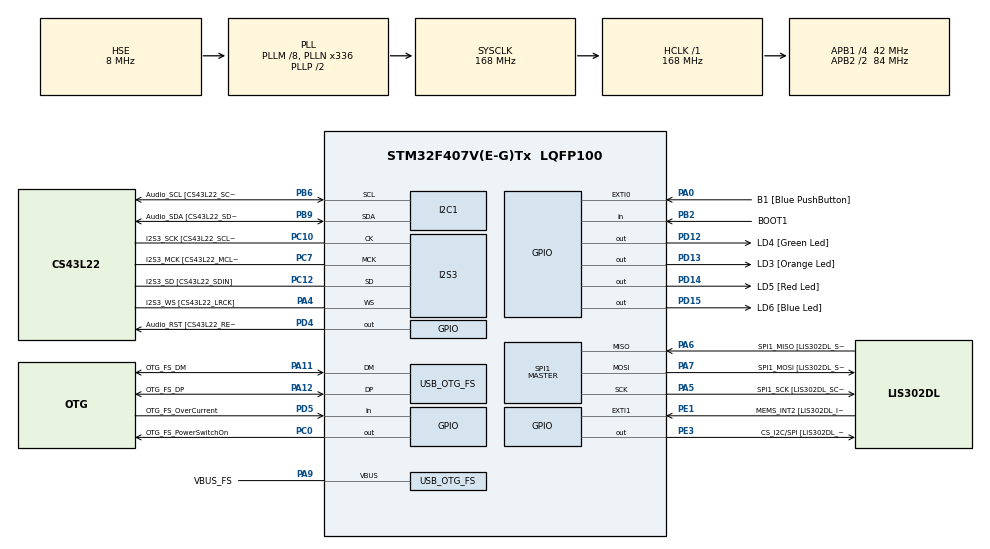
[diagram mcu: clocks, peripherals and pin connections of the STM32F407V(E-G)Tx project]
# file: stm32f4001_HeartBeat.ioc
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I2S3.AudioFreq-Half_Duplex_Master=I2S_AUDIOFREQ_96K
I2S3.ErrorAudioFreq=-2.34 %
I2S3.ErrorAudioFreq-Half_Duplex_Master=0.8 %
I2S3.FullDuplexMode=I2S_FULLDUPLEXMODE_DISABLE
I2S3.Instance=SPI$Index
I2S3.RealAudioFreq=93.75 KHz
I2S3.RealAudioFreq-Half_Duplex_Master=96.774 KHz
I2S3.VirtualMode=I2S_MODE_MASTER
Mcu.Family=STM32F4
Mcu.Name=STM32F407V(E-G)Tx
Mcu.Package=LQFP100
NVIC.OTG_FS_IRQn=true\:0\:0\:false\:false\:true\:true\:true
NVIC.PriorityGroup=NVIC_PRIORITYGROUP_0
PA0-WKUP.GPIO_Label=B1 [Blue PushButton]
PA0-WKUP.GPIO_ModeDefaultEXTI=GPIO_MODE_EVT_RISING
PA0-WKUP.GPIO_PuPd=GPIO_NOPULL
PA0-WKUP.Signal=GPXTI0
PA10.GPIO_Label=OTG_FS_ID
PA10.GPIO_Mode=GPIO_MODE_AF_PP
PA10.GPIO_PuPd=GPIO_NOPULL
PA10.GPIO_Speed=GPIO_SPEED_FREQ_LOW
PA10.Signal=USB_OTG_FS_ID
PA11.GPIO_Label=OTG_FS_DM
PA11.GPIO_Mode=GPIO_MODE_AF_PP
PA11.GPIO_PuPd=GPIO_NOPULL
PA11.GPIO_Speed=GPIO_SPEED_FREQ_LOW
PA11.Mode=Host_Only
PA11.Signal=USB_OTG_FS_DM
PA12.GPIO_Label=OTG_FS_DP
PA12.GPIO_Mode=GPIO_MODE_AF_PP
PA12.GPIO_PuPd=GPIO_NOPULL
PA12.GPIO_Speed=GPIO_SPEED_FREQ_LOW
PA12.Mode=Host_Only
PA12.Signal=USB_OTG_FS_DP
PA13.GPIO_Label=SWDIO
PA13.Mode=Serial_Wire
PA13.Signal=SYS_JTMS-SWDIO
PA14.GPIO_Label=SWCLK
PA14.Mode=Serial_Wire
PA14.Signal=SYS_JTCK-SWCLK
PA4.GPIO_Label=I2S3_WS [CS43L22_LRCK]
PA4.GPIO_Mode=GPIO_MODE_AF_PP
PA4.GPIO_PuPd=GPIO_NOPULL
PA4.GPIO_Speed=GPIO_SPEED_FREQ_LOW
PA4.Mode=Half_Duplex_Master
PA4.Signal=I2S3_WS
PA5.GPIO_Label=SPI1_SCK [LIS302DL_SCL/SPC]
PA5.GPIO_Mode=GPIO_MODE_AF_PP
PA5.GPIO_PuPd=GPIO_NOPULL
PA5.GPIO_Speed=GPIO_SPEED_FREQ_LOW
PA5.Mode=Full_Duplex_Master
PA5.Signal=SPI1_SCK
PA6.GPIO_Label=SPI1_MISO [LIS302DL_SDO]
PA6.GPIO_Mode=GPIO_MODE_AF_PP
PA6.GPIO_PuPd=GPIO_NOPULL
PA6.GPIO_Speed=GPIO_SPEED_FREQ_LOW
PA6.Mode=Full_Duplex_Master
PA6.Signal=SPI1_MISO
PA7.GPIO_Label=SPI1_MOSI [LIS302DL_SDA/SDI/SDO]
PA7.GPIO_Mode=GPIO_MODE_AF_PP
PA7.GPIO_PuPd=GPIO_NOPULL
PA7.GPIO_Speed=GPIO_SPEED_FREQ_LOW
PA7.Mode=Full_Duplex_Master
PA7.Signal=SPI1_MOSI
PA9.GPIO_Label=VBUS_FS
PA9.GPIO_Mode=GPIO_MODE_INPUT
PA9.GPIO_PuPd=GPIO_NOPULL
PA9.Mode=Activate_VBUS
PA9.Signal=USB_OTG_FS_VBUS
PB10.GPIO_Label=CLK_IN [MP45DT02_CLK]
PB10.GPIO_Mode=GPIO_MODE_AF_PP
PB10.GPIO_PuPd=GPIO_NOPULL
PB10.GPIO_Speed=GPIO_SPEED_FREQ_LOW
PB10.Signal=I2S2_CK
PB2.GPIO_Label=BOOT1
PB2.GPIO_Mode=GPIO_MODE_INPUT
PB2.GPIO_PuPd=GPIO_NOPULL
PB2.Signal=GPIO_Input
PB3.GPIO_Label=SWO
PB3.Signal=SYS_JTDO-SWO
PB6.GPIO_Label=Audio_SCL [CS43L22_SCL]
PB6.GPIO_Mode=GPIO_MODE_AF_OD
PB6.GPIO_PuPd=GPIO_NOPULL
PB6.GPIO_Speed=GPIO_SPEED_FREQ_LOW
PB6.Mode=I2C
PB6.Signal=I2C1_SCL
PB9.GPIO_Label=Audio_SDA [CS43L22_SDA]
PB9.GPIO_Mode=GPIO_MODE_AF_OD
PB9.GPIO_PuPd=GPIO_NOPULL
PB9.GPIO_Speed=GPIO_SPEED_FREQ_LOW
PB9.Mode=I2C
PB9.Signal=I2C1_SDA
PC0.GPIO_Label=OTG_FS_PowerSwitchOn
PC0.GPIO_PuPd=GPIO_NOPULL
PC0.GPIO_Speed=GPIO_SPEED_FREQ_LOW
PC0.PinState=GPIO_PIN_SET
PC0.Signal=GPIO_Output
PC10.GPIO_Label=I2S3_SCK [CS43L22_SCLK]
PC10.GPIO_Mode=GPIO_MODE_AF_PP
PC10.GPIO_PuPd=GPIO_NOPULL
PC10.GPIO_Speed=GPIO_SPEED_FREQ_LOW
PC10.Mode=Half_Duplex_Master
PC10.Signal=I2S3_CK
PC12.GPIO_Label=I2S3_SD [CS43L22_SDIN]
PC12.GPIO_Mode=GPIO_MODE_AF_PP
PC12.GPIO_PuPd=GPIO_NOPULL
PC12.GPIO_Speed=GPIO_SPEED_FREQ_LOW
PC12.Mode=Half_Duplex_Master
PC12.Signal=I2S3_SD
PC14-OSC32_IN.GPIO_Label=PC14-OSC32_IN
PC14-OSC32_IN.Mode=LSE-External-Oscillator
PC14-OSC32_IN.Signal=RCC_OSC32_IN
PC15-OSC32_OUT.GPIO_Label=PC15-OSC32_OUT
PC15-OSC32_OUT.Mode=LSE-External-Oscillator
PC15-OSC32_OUT.Signal=RCC_OSC32_OUT
PC3.GPIO_Label=PDM_OUT [MP45DT02_DOUT]
PC3.GPIO_Mode=GPIO_MODE_AF_PP
PC3.GPIO_PuPd=GPIO_NOPULL
PC3.GPIO_Speed=GPIO_SPEED_FREQ_LOW
PC3.Signal=I2S2_SD
PC7.GPIO_Label=I2S3_MCK [CS43L22_MCLK]
PC7.GPIO_Mode=GPIO_MODE_AF_PP
PC7.GPIO_PuPd=GPIO_NOPULL
PC7.GPIO_Speed=GPIO_SPEED_FREQ_LOW
PC7.Mode=Master_Clock_Activated
PC7.Signal=I2S3_MCK
PD12.GPIO_Label=LD4 [Green Led]
PD12.GPIO_PuPd=GPIO_NOPULL
PD12.GPIO_Speed=GPIO_SPEED_FREQ_LOW
PD12.Signal=GPIO_Output
PD13.GPIO_Label=LD3 [Orange Led]
PD13.GPIO_PuPd=GPIO_NOPULL
PD13.GPIO_Speed=GPIO_SPEED_FREQ_LOW
PD13.Signal=GPIO_Output
PD14.GPIO_Label=LD5 [Red Led]
PD14.GPIO_PuPd=GPIO_NOPULL
PD14.GPIO_Speed=GPIO_SPEED_FREQ_LOW
PD14.Signal=GPIO_Output
PD15.GPIO_Label=LD6 [Blue Led]
PD15.GPIO_PuPd=GPIO_NOPULL
PD15.GPIO_Speed=GPIO_SPEED_FREQ_LOW
PD15.Signal=GPIO_Output
PD4.GPIO_Label=Audio_RST [CS43L22_RESET]
PD4.GPIO_PuPd=GPIO_NOPULL
PD4.GPIO_Speed=GPIO_SPEED_FREQ_LOW
PD4.Signal=GPIO_Output
PD5.GPIO_Label=OTG_FS_OverCurrent
PD5.GPIO_Mode=GPIO_MODE_INPUT
PD5.GPIO_PuPd=GPIO_NOPULL
PD5.Signal=GPIO_Input
PE1.GPIO_Label=MEMS_INT2 [LIS302DL_INT2]
PE1.GPIO_ModeDefaultEXTI=GPIO_MODE_EVT_RISING
PE1.GPIO_PuPd=GPIO_NOPULL
PE1.Signal=GPXTI1
PE3.GPIO_Label=CS_I2C/SPI [LIS302DL_CS_I2C/SPI]
PE3.GPIO_PuPd=GPIO_NOPULL
PE3.GPIO_Speed=GPIO_SPEED_FREQ_LOW
PE3.Signal=GPIO_Output
PH0-OSC_IN.GPIO_Label=PH0-OSC_IN
PH0-OSC_IN.Mode=HSE-External-Oscillator
PH0-OSC_IN.Signal=RCC_OSC_IN
PH1-OSC_OUT.GPIO_Label=PH1-OSC_OUT
PH1-OSC_OUT.Mode=HSE-External-Oscillator
PH1-OSC_OUT.Signal=RCC_OSC_OUT
ProjectManager.HeapSize=0x200
ProjectManager.StackSize=0x400
ProjectManager.TargetToolchain=STM32CubeIDE
RCC.48MHZClocksFreq_Value=48000000
RCC.AHBFreq_Value=168000000
RCC.APB1CLKDivider=RCC_HCLK_DIV4
RCC.APB1Freq_Value=42000000
RCC.APB1TimFreq_Value=84000000
RCC.APB2CLKDivider=RCC_HCLK_DIV2
RCC.APB2Freq_Value=84000000
RCC.APB2TimFreq_Value=168000000
RCC.CortexFreq_Value=168000000
RCC.HCLKFreq_Value=168000000
RCC.HSE_VALUE=8000000
RCC.HSI_VALUE=16000000
RCC.PLLM=8
RCC.PLLN=336
RCC.PLLQ=7
RCC.SYSCLKFreq_VALUE=168000000
RCC.SYSCLKSource=RCC_SYSCLKSOURCE_PLLCLK
RCC.VCOOutputFreq_Value=336000000
SPI1.BaudRatePrescaler-Full_Duplex_Master=SPI_BAUDRATEPRESCALER_2
SPI1.CalculateBaudRate-Full_Duplex_Master=42.0 MBits/s
SPI1.Direction=SPI_DIRECTION_2LINES
SPI1.Mode=SPI_MODE_MASTER
SPI1.Mode-Full_Duplex_Master=SPI_MODE_MASTER
SPI1.VirtualType=VM_MASTER
USB_HOST.BSP.number=1
USB_HOST.USBH_HandleTypeDef-CDC_FS=hUsbHostFS
USB_HOST.VirtualModeFS=Cdc
USB_HOST0.BSP.STBoard=false
USB_HOST0.BSP.api=Unknown
USB_HOST0.BSP.i2caddr=0
USB_HOST0.BSP.i2creg=0
USB_HOST0.BSP.instance=PC0
USB_HOST0.BSP.ip=GPIO
USB_HOST0.BSP.mode=Output
USB_HOST0.BSP.name=Drive_VBUS_FS
USB_HOST0.BSP.solution=PC0
USB_OTG_FS.VirtualMode=Host_Only
USB_OTG_FS.phy_itface=HCD_PHY_EMBEDDED
VP_USB_HOST_VS_USB_HOST_CDC_FS.Mode=CDC_FS
board=STM32F4DISCOVERY

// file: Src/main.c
/* USER CODE BEGIN Header */
/**
  ******************************************************************************
  * @file           : main.c
  * @brief          : Main program body
  ******************************************************************************
  * @attention
  *
  * <h2><center>&copy; Copyright (c) 2019 STMicroelectronics.
  * All rights reserved.</center></h2>
  *
  * This software component is licensed by ST under Ultimate Liberty license
  * SLA0044, the "License"; You may not use this file except in compliance with
  * the License. You may obtain a copy of the License at:
  *                             www.st.com/SLA0044
  *
  ******************************************************************************
  */
/* USER CODE END Header */

#include "main.h"
#include "i2c.h"
#include "i2s.h"
#include "spi.h"
#include "usb_host.h"
#include "gpio.h"

void SystemClock_Config(void);
void MX_USB_HOST_Process(void);

int main(void)
{

  /* MCU Configuration--------------------------------------------------------*/

  /* Reset of all peripherals, Initializes the Flash interface and the Systick. */
  HAL_Init();

  /* Configure the system clock */
  SystemClock_Config();

  /* Initialize all configured peripherals */
  MX_GPIO_Init();
  MX_I2C1_Init();
  MX_I2S3_Init();
  MX_SPI1_Init();
  MX_USB_HOST_Init();

  /* Infinite loop */
  while (1) {
    MX_USB_HOST_Process();

    /* USER CODE BEGIN 3 */

        HAL_GPIO_WritePin(LD3_GPIO_Port, LD3_Pin, GPIO_PIN_SET);
    	HAL_GPIO_WritePin(LD6_GPIO_Port, LD6_Pin, GPIO_PIN_SET);
    	HAL_GPIO_WritePin(LD4_GPIO_Port, LD4_Pin, GPIO_PIN_SET);
    	HAL_GPIO_WritePin(LD5_GPIO_Port, LD5_Pin, GPIO_PIN_SET);
    	HAL_Delay(5000);
    	HAL_GPIO_WritePin(LD6_GPIO_Port, LD6_Pin, GPIO_PIN_RESET);
    	HAL_GPIO_WritePin(LD4_GPIO_Port, LD4_Pin, GPIO_PIN_RESET);
    	HAL_GPIO_WritePin(LD5_GPIO_Port, LD5_Pin, GPIO_PIN_RESET);
    	HAL_Delay(500);

    	while(1) {
    		    HAL_GPIO_WritePin(LD3_GPIO_Port, LD3_Pin, GPIO_PIN_SET);
    			HAL_Delay(500);
    			HAL_GPIO_WritePin(LD3_GPIO_Port, LD3_Pin, GPIO_PIN_RESET);
    			HAL_Delay(100);
    			HAL_GPIO_WritePin(LD6_GPIO_Port, LD6_Pin, GPIO_PIN_SET);
    			HAL_Delay(500);
    			HAL_GPIO_WritePin(LD6_GPIO_Port, LD6_Pin, GPIO_PIN_RESET);
    			HAL_Delay(100);
    			HAL_GPIO_WritePin(LD4_GPIO_Port, LD4_Pin, GPIO_PIN_SET);
    			HAL_Delay(500);
    			HAL_GPIO_WritePin(LD4_GPIO_Port, LD4_Pin, GPIO_PIN_RESET);
    			HAL_Delay(100);
    			HAL_GPIO_WritePin(LD5_GPIO_Port, LD5_Pin, GPIO_PIN_SET);
    			HAL_Delay(500);
    			HAL_GPIO_WritePin(LD5_GPIO_Port, LD5_Pin, GPIO_PIN_RESET);
    			HAL_Delay(100);
    		}
}

  }
  /* USER CODE END 3 */

void SystemClock_Config(void)
{
  RCC_OscInitTypeDef RCC_OscInitStruct = {0};
  RCC_ClkInitTypeDef RCC_ClkInitStruct = {0};
  RCC_PeriphCLKInitTypeDef PeriphClkInitStruct = {0};

  /** Configure the main internal regulator output voltage
  */
  __HAL_RCC_PWR_CLK_ENABLE();
  __HAL_PWR_VOLTAGESCALING_CONFIG(PWR_REGULATOR_VOLTAGE_SCALE1);
  /** Initializes the CPU, AHB and APB busses clocks
  */
  RCC_OscInitStruct.OscillatorType = RCC_OSCILLATORTYPE_HSE;
  RCC_OscInitStruct.HSEState = RCC_HSE_ON;
  RCC_OscInitStruct.PLL.PLLState = RCC_PLL_ON;
  RCC_OscInitStruct.PLL.PLLSource = RCC_PLLSOURCE_HSE;
  RCC_OscInitStruct.PLL.PLLM = 8;
  RCC_OscInitStruct.PLL.PLLN = 336;
  RCC_OscInitStruct.PLL.PLLP = RCC_PLLP_DIV2;
  RCC_OscInitStruct.PLL.PLLQ = 7;
  if (HAL_RCC_OscConfig(&RCC_OscInitStruct) != HAL_OK)
  {
    Error_Handler();
  }
  /** Initializes the CPU, AHB and APB busses clocks
  */
  RCC_ClkInitStruct.ClockType = RCC_CLOCKTYPE_HCLK|RCC_CLOCKTYPE_SYSCLK
                              |RCC_CLOCKTYPE_PCLK1|RCC_CLOCKTYPE_PCLK2;
  RCC_ClkInitStruct.SYSCLKSource = RCC_SYSCLKSOURCE_PLLCLK;
  RCC_ClkInitStruct.AHBCLKDivider = RCC_SYSCLK_DIV1;
  RCC_ClkInitStruct.APB1CLKDivider = RCC_HCLK_DIV4;
  RCC_ClkInitStruct.APB2CLKDivider = RCC_HCLK_DIV2;

  if (HAL_RCC_ClockConfig(&RCC_ClkInitStruct, FLASH_LATENCY_5) != HAL_OK)
  {
    Error_Handler();
  }
  PeriphClkInitStruct.PeriphClockSelection = RCC_PERIPHCLK_I2S;
  PeriphClkInitStruct.PLLI2S.PLLI2SN = 192;
  PeriphClkInitStruct.PLLI2S.PLLI2SR = 2;
  if (HAL_RCCEx_PeriphCLKConfig(&PeriphClkInitStruct) != HAL_OK)
  {
    Error_Handler();
  }
}

void Error_Handler(void)
{
}

/************************ (C) COPYRIGHT STMicroelectronics *****END OF FILE****/
